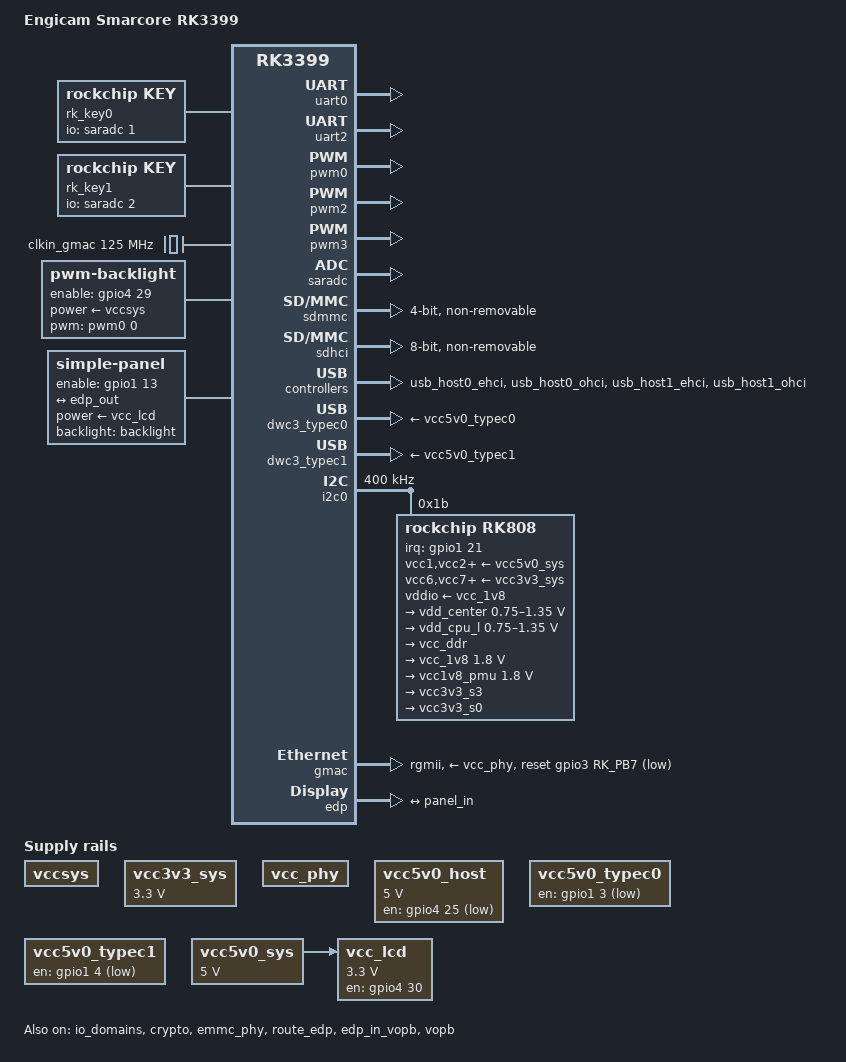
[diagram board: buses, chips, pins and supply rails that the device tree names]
/*
 * (C) Copyright 2016 Rockchip Electronics Co., Ltd
 *
 * SPDX-License-Identifier:     GPL-2.0+
 */

/dts-v1/;
#include <dt-bindings/pwm/pwm.h>
#include <dt-bindings/pinctrl/rockchip.h>
#include "rk3399.dtsi"
#include "rk3399-sdram-ddr3-1600.dtsi"
#include "smarcore-rk3399-u-boot.dtsi"
#include <linux/media-bus-format.h>
#include <dt-bindings/input/input.h>

/ {
	model = "Engicam Smarcore RK3399";
	compatible = "engicam,smarcore-rk3399", "rockchip,rk3399-evb", "rockchip,rk3399",
		     "google,rk3399evb-rev2";

	/* RK3399 evb board */
	rk_key0 {
		u-boot,dm-pre-reloc;
		compatible = "rockchip,key";
		status = "okay";
		io-channels = <&saradc 1>;

		vol-up-key0 {
			u-boot,dm-pre-reloc;
			linux,code = <KEY_VOLUMEUP>;
			label = "volume up";
			rockchip,adc_value = <1>;
		};
	};

	/* RK3399PRO evb board */
	rk_key1 {
		u-boot,dm-pre-reloc;
		compatible = "rockchip,key";
		status = "okay";
		io-channels = <&saradc 2>;

		vol-up-key1 {
			u-boot,dm-pre-reloc;
			linux,code = <KEY_VOLUMEUP>;
			label = "volume up";
			rockchip,adc_value = <10>;
		};
	};

	vccsys: vccsys {
		compatible = "regulator-fixed";
		regulator-name = "vccsys";
		regulator-boot-on;
		regulator-always-on;
	};

	vcc3v3_sys: vcc3v3-sys {
		compatible = "regulator-fixed";
		regulator-name = "vcc3v3_sys";
		regulator-always-on;
		regulator-boot-on;
		regulator-min-microvolt = <3300000>;
		regulator-max-microvolt = <3300000>;
	};

	vcc_phy: vcc-phy-regulator {
		compatible = "regulator-fixed";
		regulator-name = "vcc_phy";
		regulator-always-on;
		regulator-boot-on;
	};

	vcc5v0_host: vcc5v0-host-en {
		compatible = "regulator-fixed";
		regulator-name = "vcc5v0_host";
		gpio = <&gpio4 25 GPIO_ACTIVE_HIGH>;
		regulator-min-microvolt = <5000000>;
		regulator-max-microvolt = <5000000>;
		regulator-always-on;
		regulator-boot-on;
	};

	vcc5v0_typec0: vcc5v0-typec0-en {
		compatible = "regulator-fixed";
		regulator-name = "vcc5v0_typec0";
		gpio = <&gpio1 3 GPIO_ACTIVE_HIGH>;
	};

	vcc5v0_typec1: vcc5v0-typec1-en {
		compatible = "regulator-fixed";
		regulator-name = "vcc5v0_typec1";
		gpio = <&gpio1 4 GPIO_ACTIVE_HIGH>;
	};

	clkin_gmac: external-gmac-clock {
		compatible = "fixed-clock";
		clock-frequency = <125000000>;
		clock-output-names = "clkin_gmac";
		#clock-cells = <0>;
	};

	backlight: backlight {
		compatible = "pwm-backlight";
		power-supply = <&vccsys>;
		enable-gpios = <&gpio1 13 GPIO_ACTIVE_HIGH>;
		brightness-levels = <
			  0   1   2   3   4   5   6   7
			  8   9  10  11  12  13  14  15
			 16  17  18  19  20  21  22  23
			 24  25  26  27  28  29  30  31
			 32  33  34  35  36  37  38  39
			 40  41  42  43  44  45  46  47
			 48  49  50  51  52  53  54  55
			 56  57  58  59  60  61  62  63
			 64  65  66  67  68  69  70  71
			 72  73  74  75  76  77  78  79
			 80  81  82  83  84  85  86  87
			 88  89  90  91  92  93  94  95
			 96  97  98  99 100 101 102 103
			104 105 106 107 108 109 110 111
			112 113 114 115 116 117 118 119
			120 121 122 123 124 125 126 127
			128 129 130 131 132 133 134 135
			136 137 138 139 140 141 142 143
			144 145 146 147 148 149 150 151
			152 153 154 155 156 157 158 159
			160 161 162 163 164 165 166 167
			168 169 170 171 172 173 174 175
			176 177 178 179 180 181 182 183
			184 185 186 187 188 189 190 191
			192 193 194 195 196 197 198 199
			200 201 202 203 204 205 206 207
			208 209 210 211 212 213 214 215
			216 217 218 219 220 221 222 223
			224 225 226 227 228 229 230 231
			232 233 234 235 236 237 238 239
			240 241 242 243 244 245 246 247
			248 249 250 251 252 253 254 255>;
		default-brightness-level = <200>;
		pwms = <&pwm0 0 25000 0>;
		pinctrl-names = "default";
		pinctrl-0 = <&pwm0_pin>;
		pwm-delay-us = <10000>;
		status = "disabled";
	};

	vcc5v0_sys: vcc5v0-sys {
		compatible = "regulator-fixed";
		regulator-name = "vcc5v0_sys";
		regulator-always-on;
		regulator-boot-on;
		regulator-min-microvolt = <5000000>;
		regulator-max-microvolt = <5000000>;
	};

	vcc_lcd: vcc-lcd {
		compatible = "regulator-fixed";
		regulator-name = "vcc_lcd";
		gpio = <&gpio4 30 GPIO_ACTIVE_HIGH>;
		startup-delay-us = <20000>;
		enable-active-high;
		regulator-min-microvolt = <3300000>;
		regulator-max-microvolt = <3300000>;
		regulator-boot-on;
		vin-supply = <&vcc5v0_sys>;
	};

	panel: panel {
		compatible = "simple-panel";
		backlight = <&backlight>;
		power-supply = <&vcc_lcd>;
		enable-gpios = <&gpio1 13 GPIO_ACTIVE_HIGH>;
		prepare-delay-ms = <20>;
		enable-delay-ms = <20>;

		display-timings {
			native-mode = <&timing0>;

			timing0: timing0 {
                                clock-frequency = <60000000>;
                                hactive = <1280>;
                                vactive = <800>;
                                hback-porch = <40>;
                                hfront-porch = <40>;
                                vback-porch = <10>;
                                vfront-porch = <3>;
                                hsync-len = <80>;
                                vsync-len = <10>;
			};
		};

		ports {
			panel_in: endpoint {
				remote-endpoint = <&edp_out>;
			};
		};
	};

};

&io_domains {
	status = "okay";
	bt656-supply = <&vcc_1v8>;	/* bt656_gpio2ab_ms */
	audio-supply = <&vcc_1v8>;	/* audio_gpio3d4a_ms */
	sdmmc-supply = <&vcc_1v8>;	/* sdmmc_gpio4b_ms */
	gpio1830-supply = <&vcc_1v8>;	/* gpio1833_gpio4cd_ms */
};

&pmu_io_domains {
	status = "okay";
	pmu1830-supply = <&vcc_1v8>;
};

&crypto {
	status = "okay";
};

&uart0 {
	status = "okay";
};

&uart2 {
	status = "okay";
};

&emmc_phy {
	status = "okay";
};

&pwm0 {
	status = "okay";
};

&pwm2 {
	status = "okay";
};

&pwm3 {
	status = "okay";
};

&saradc {
	status = "okay";
};

&sdmmc {
	// supports-sd;
	bus-width = <4>;
	disable-wp;
	supports-sd;
	no-1-8-v;
	non-removable;	/* da togliere solo per debug */
	num-slots = <1>;
	max-frequency = <5000000>;
	pinctrl-names = "default";
	pinctrl-0 = <&sdmmc_clk &sdmmc_cmd &sdmmc_cd &sdmmc_bus4>;
	status = "okay";
};

&sdhci {
	bus-width = <8>;
	mmc-hs400-1_8v;
	mmc-hs400-enhanced-strobe;
	non-removable;
	status = "okay";
};

&usb_host0_ehci {
	status = "okay";
};

&usb_host0_ohci {
	status = "okay";
};

&dwc3_typec0 {
	vbus-supply = <&vcc5v0_typec0>;
	status = "okay";
};

&usb_host1_ehci {
	status = "okay";
};

&usb_host1_ohci {
	status = "okay";
};

&dwc3_typec1 {
	vbus-supply = <&vcc5v0_typec1>;
	status = "okay";
};

&i2c0 {
	status = "okay";
	clock-frequency = <400000>;
	i2c-scl-falling-time-ns = <50>;
	i2c-scl-rising-time-ns = <100>;

	rk808: pmic@1b {
		compatible = "rockchip,rk808";
		reg = <0x1b>;
		interrupt-parent = <&gpio1>;
		interrupts = <21 IRQ_TYPE_LEVEL_LOW>;
		pinctrl-names = "default";
		pinctrl-0 = <&pmic_int_l>;
		rockchip,system-power-controller;
		wakeup-source;
		#clock-cells = <1>;
		clock-output-names = "rk808-clkout1", "rk808-clkout2";

		vcc1-supply = <&vcc5v0_sys>;
		vcc2-supply = <&vcc5v0_sys>;
		vcc3-supply = <&vcc5v0_sys>;
		vcc4-supply = <&vcc5v0_sys>;
		vcc6-supply = <&vcc3v3_sys>;
		vcc7-supply = <&vcc3v3_sys>;
		vcc8-supply = <&vcc3v3_sys>;
		vcc9-supply = <&vcc3v3_sys>;
		vcc10-supply = <&vcc3v3_sys>;
		vcc11-supply = <&vcc3v3_sys>;
		vcc12-supply = <&vcc3v3_sys>;
		vddio-supply = <&vcc_1v8>;

		regulators {
			vdd_center: DCDC_REG1 {
				regulator-always-on;
				regulator-boot-on;
				regulator-min-microvolt = <750000>;
				regulator-max-microvolt = <1350000>;
				regulator-init-microvolt = <900000>;
				regulator-ramp-delay = <6001>;
				regulator-name = "vdd_center";
				regulator-state-mem {
					regulator-off-in-suspend;
				};
			};

			vdd_cpu_l: DCDC_REG2 {
				regulator-always-on;
				regulator-boot-on;
				regulator-min-microvolt = <750000>;
				regulator-max-microvolt = <1350000>;
				regulator-ramp-delay = <6001>;
				regulator-name = "vdd_cpu_l";
				regulator-state-mem {
					regulator-off-in-suspend;
				};
			};

			vcc_ddr: DCDC_REG3 {
				regulator-always-on;
				regulator-boot-on;
				regulator-name = "vcc_ddr";
				regulator-state-mem {
					regulator-on-in-suspend;
				};
			};

			vcc_1v8: DCDC_REG4 {
				regulator-always-on;
				regulator-boot-on;
				regulator-min-microvolt = <1800000>;
				regulator-max-microvolt = <1800000>;
				regulator-name = "vcc_1v8";
				regulator-state-mem {
					regulator-on-in-suspend;
					regulator-suspend-microvolt = <1800000>;
				};
			};

			vcc1v8_pmu: LDO_REG3 {
				regulator-always-on;
				regulator-boot-on;
				regulator-min-microvolt = <1800000>;
				regulator-max-microvolt = <1800000>;
				regulator-name = "vcc1v8_pmu";
				regulator-state-mem {
					regulator-on-in-suspend;
					regulator-suspend-microvolt = <1800000>;
				};
			};

			vcc3v3_s3: SWITCH_REG1 {
				regulator-always-on;
				regulator-boot-on;
				regulator-name = "vcc3v3_s3";
				regulator-state-mem {
					regulator-off-in-suspend;
				};
			};

			vcc3v3_s0: SWITCH_REG2 {
				regulator-always-on;
				regulator-boot-on;
				regulator-name = "vcc3v3_s0";
				regulator-state-mem {
					regulator-off-in-suspend;
				};
			};
		};
	};
};

&mipi_dsi {
	status = "disabled";
	rockchip,panel = <&panel>;
	display-timings {
		timing0 {
		bits-per-pixel = <24>;
		clock-frequency = <160000000>;
		hfront-porch = <120>;
		hsync-len = <20>;
		hback-porch = <21>;
		hactive = <1200>;
		vfront-porch = <21>;
		vsync-len = <3>;
		vback-porch = <18>;
		vactive = <1920>;
		hsync-active = <0>;
		vsync-active = <0>;
		de-active = <1>;
		pixelclk-active = <0>;
		};
	};
};

&pinctrl {
	pmic {
		pmic_int_l: pmic-int-l {
			rockchip,pins =
				<1 21 RK_FUNC_GPIO &pcfg_pull_up>;
		};

		pmic_dvs2: pmic-dvs2 {
			rockchip,pins =
				<1 18 RK_FUNC_GPIO &pcfg_pull_down>;
		};
	};
};

&gmac {
        phy-supply = <&vcc_phy>;
	phy-mode = "rgmii";
	clock_in_out = "input";
	snps,reset-gpio = <&gpio3 RK_PB7 GPIO_ACTIVE_LOW>;
	snps,reset-active-low;
	snps,reset-delays-us = <0 10000 50000>;
	assigned-clocks = <&cru SCLK_RMII_SRC>;
	assigned-clock-parents = <&clkin_gmac>;
	pinctrl-names = "default";
	pinctrl-0 = <&rgmii_pins>;
	tx_delay = <0x0>;
	rx_delay = <0x0>;
	status = "okay";
};

&backlight {
	status = "okay";
	enable-gpios = <&gpio4 29 GPIO_ACTIVE_HIGH>;
};

&route_edp {
	status = "okay";
};

&edp_in_vopl {
	status = "disabled";
};

&edp_in_vopb {
	status = "okay";
};

&edp {
	status = "okay";
	force-hpd;

	ports {
		port@1 {
			reg = <1>;

			edp_out: endpoint {
				remote-endpoint = <&panel_in>;
			};
		};
	};
};

&vopb {
	status = "okay";
};
